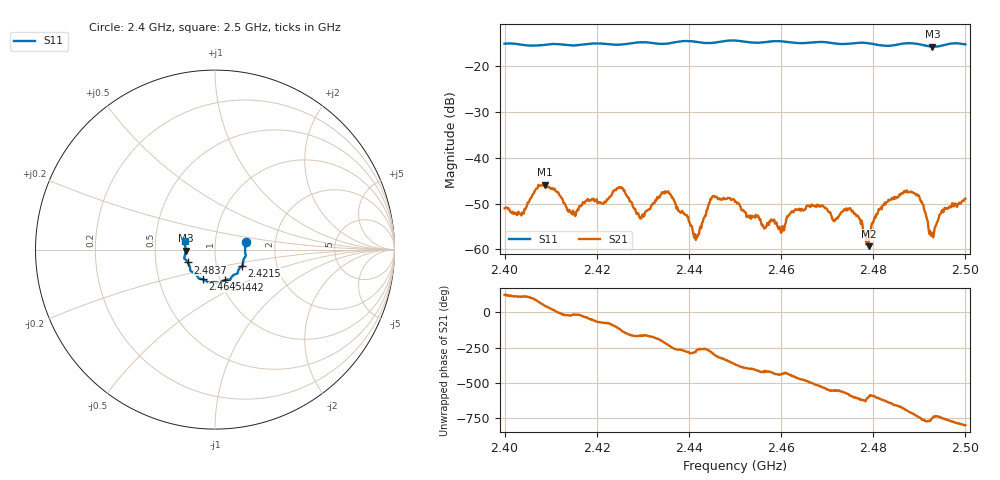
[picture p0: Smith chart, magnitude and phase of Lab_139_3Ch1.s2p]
# Hz S RI R 50
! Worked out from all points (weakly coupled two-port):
!   601 points, 2.4 GHz to 2.5 GHz, reference 50 ohm
!   highest |S21| = -45.86 dB at 2.4087 GHz (marker M1); lowest = -59.3 dB at 2.479 GHz (marker M2)
!   lowest |S11| = -15.7 dB at 2.4928 GHz (marker M3), VSWR 1.39, Z = 36 - j0.375 ohm
!   |S11| at or under -10 dB: start of sweep to end of sweep
!   S12 and S22 are empty: the file has one direction only
!   S11 on the Smith chart (normalised r, x): 2.4 GHz: 1.41, +0.12; 2.4215 GHz: 1.33, -0.25; 2.4442 GHz: 1.05, -0.37; 2.4645 GHz: 0.83, -0.29; 2.4837 GHz: 0.73, -0.11; 2.5 GHz: 0.71, +0.07
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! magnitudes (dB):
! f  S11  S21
! 2.4 GHz  -15.1  -51.0
! 2.4037 GHz  -15.3  -52.6
! 2.4087 GHz  -15.3  -45.9
! 2.4167 GHz  -15.3  -50.3
! 2.4215 GHz  -15.1  -50.0
! 2.4252 GHz  -15.3  -46.5
! 2.4297 GHz  -14.8  -53.2
! 2.4333 GHz  -15.1  -48.8
! 2.4358 GHz  -15.0  -47.8
! 2.4415 GHz  -14.7  -57.9
! 2.4442 GHz  -15.0  -50.6
! 2.45 GHz  -14.4  -49.6
! 2.4602 GHz  -14.6  -56.1
! 2.4645 GHz  -15.0  -51.1
! 2.4667 GHz  -14.8  -50.2
! 2.4752 GHz  -15.0  -51.3
! 2.479 GHz  -15.0  -59.3
! 2.4833 GHz  -15.6  -49.1
! 2.4837 GHz  -15.5  -49.2
! 2.4895 GHz  -15.1  -48.0
! 2.4928 GHz  -15.7  -56.4
! 2.5 GHz  -15.2  -48.9
